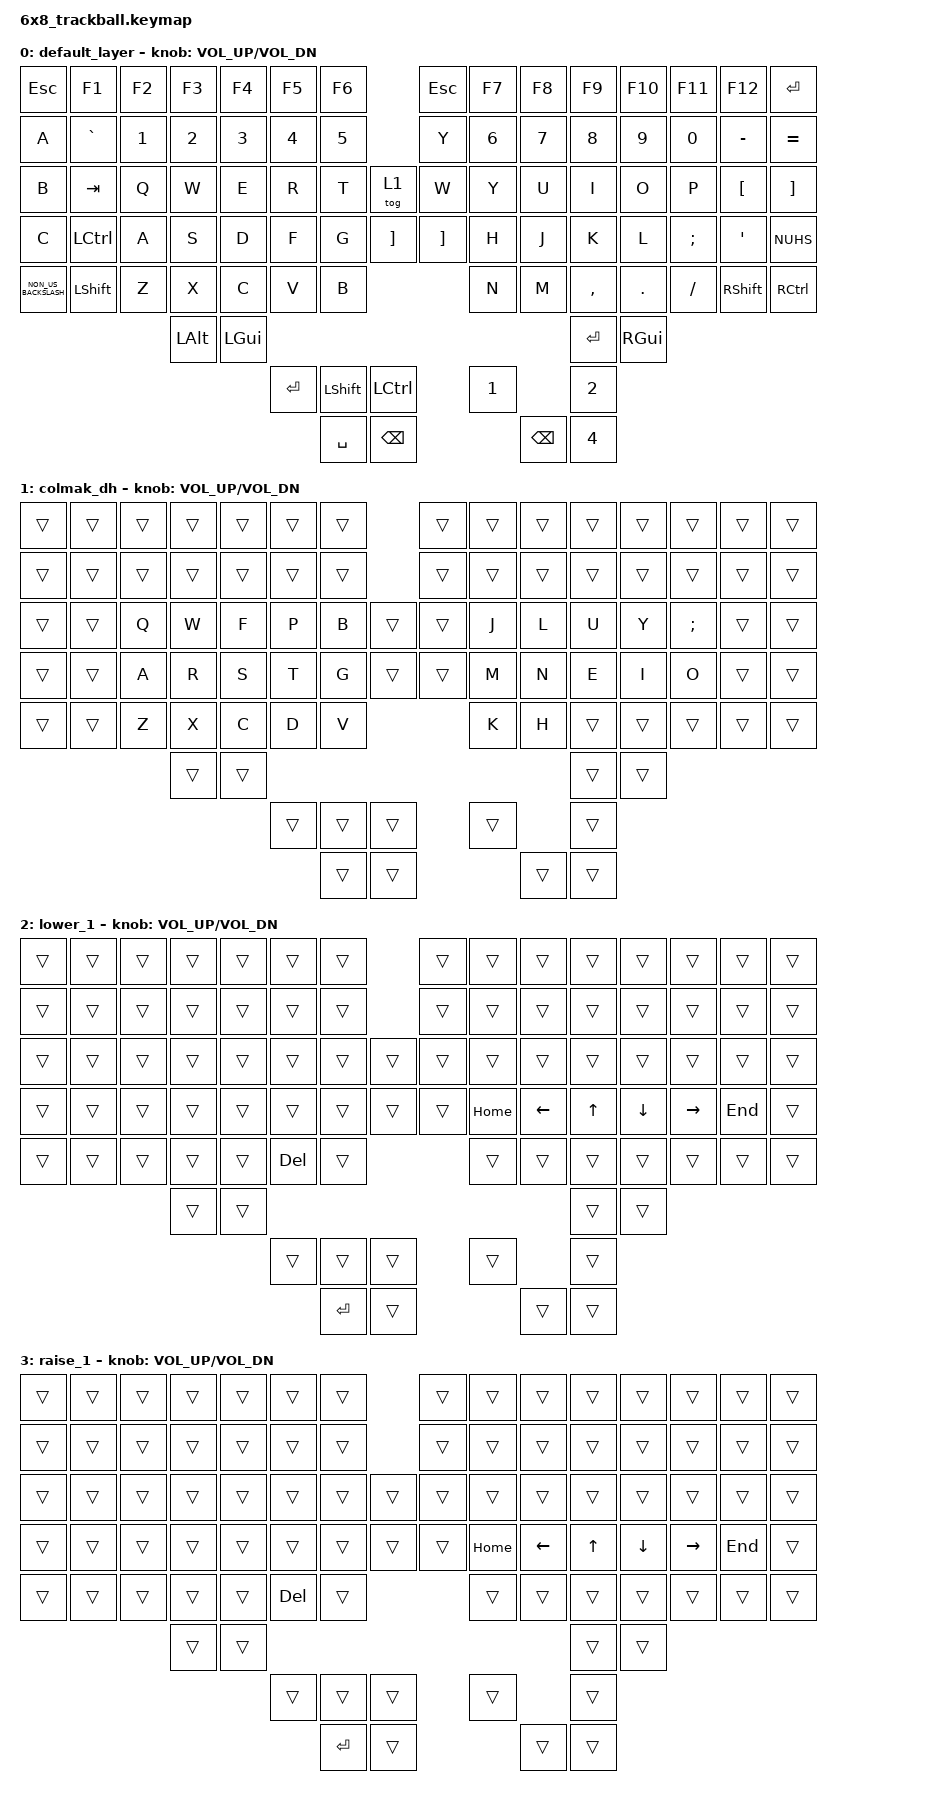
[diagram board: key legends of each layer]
#include <dt-bindings/zmk/keys.h>
#include <dt-bindings/zmk/mouse.h>
#include <dt-bindings/zmk/input_transform.h>
#include <zephyr/dt-bindings/input/input-event-codes.h>
#include <dt-bindings/zmk/bt.h>
#include <dt-bindings/zmk/ext_power.h>
#include <dt-bindings/zmk/pointing.h>
#include <behaviors.dtsi>
//#include <boards/shields/6x8_trackball/6x8_trackball.dtsi>

//| SW7  | SW6  | SW5  | SW4  | SW3  | SW2  | SW1  |          | SW1  | SW2  | SW3  | SW4  | SW5  | SW6  | SW7  | SW8  |         
//| SW14 | SW13 | SW12 | SW11 | SW10 | SW9  | SW8  |          | SW9  | SW10 | SW11 | SW12 | SW13 | SW14 | SW15 | SW16 | 
//| SW22 | SW21 | SW20 | SW19 | SW18 | SW17 | SW16 | SW15 |   | SW17 | SW18 | SW19 | SW20 | SW21 | SW22 | SW23 | SW24 |         
//| SW30 | SW29 | SW28 | SW27 | SW26 | SW25 | SW24 | SW23 |   | SW25 | SW26 | SW27 | SW28 | SW29 | SW30 | SW31 | SW32 |         
//| SW37 | SW36 | SW35 | SW34 | SW33 | SW32 | SW31 |                 | SW33 | SW34 | SW35 | SW36 | SW37 | SW38 | SW39 |         
//                     | SW39 | SW38 |                                             | SW40 | SW41 |        
//                                    | SW42 | SW41 | SW40 |         | SW42 |      | SW43 |
//                                           | SW44 | SW43 |             | SW44 | SW45 |

#define DEFAULT 0
#define COLEMAK_DH 1
#define LOWER 2
#define RAISE 3

/ {
    behaviors {
        td0: colemak_dh_layer {
            compatible = "zmk,behavior-tap-dance";
            label = "colemak_dh_layer";
            #binding-cells = <0>;
            tapping-term-ms = <200>;
            bindings = <&kp LBKT>, <&tog 1>;
        };
        td1: esc_grave {
            compatible = "zmk,behavior-tap-dance";
            label = "grave_esc_tap";
            #binding-cells = <0>;
            tapping-term-ms = <200>;
            bindings = <&kp ESC>, <&kp GRAVE>;
        };
};

    keymap {
        compatible = "zmk,keymap";

        default_layer {
// ------------------------------------------------------------------------------------------------------------
// |  ESC  |  F1   |  F2 |  F3 |  F4  |  F5  |  F6  |            |  ESC  | F7   |  F8   |  F9   | F10   |  F11  |  F12  | RET  |
// |  mac1 |  grv  |  1  |  2  |  3   |  4   |  5   |            |       |  6   |  7    |  8    |  9    |   0   |   -   |   +  |
// |  mac2 |  TAB  |  Q  |  W  |  E   |  R   |  T   | LAY1  |    |   }   |  Y   |  U    |  I    |  O    |   P   |   [   |   ]  |
// |  mac3 |  CTRL |  A  |  S  |  D   |  F   |  G   |   [   |    |   ]   |  H   |  J    |  K    |  L    |   ;   |   @   |   #  |
// |   |   | SHIFT |  Z  |  X  |  C   |  V   |  B   |                    |  N   |  M    |  ,    |  .    |   /   | SHIFT | RCTRL|
//                       | ALT | GUI  |                                                 | LAY2  | LAY3  | 
//                                    |  RET  | LSHFT | LCTRL |           | LAY1 |       |  LAY1 |
//                                            | SPACE | BKSPC |               | BSPC  |  BKSP |
//                                       

            bindings = <
&kp ESC              &kp F1    &kp F2 &kp F3   &kp F4   &kp F5    &kp F6             &kp ESC    &kp F7  &kp F8   &kp F9    &kp F10   &kp F11  &kp F12   &kp RET
&kp A                &kp GRAVE &kp N1 &kp N2   &kp N3   &kp N4    &kp N5             &kp Y      &kp N6  &kp N7   &kp N8    &kp N9    &kp N0   &kp MINUS &kp EQUAL
&kp B                &kp TAB   &kp Q  &kp W    &kp E    &kp R     &kp T     &tog 1   &kp W      &kp Y   &kp U    &kp I     &kp O     &kp P    &kp LBKT  &kp RBKT
&kp C                &kp LCTRL &kp A  &kp S    &kp D    &kp F     &kp G     &kp RBKT &kp RBKT   &kp H   &kp J    &kp K     &kp L     &kp SEMI &kp SQT   &kp NUHS
&kp NON_US_BACKSLASH &kp LSHFT &kp Z  &kp X    &kp C    &kp V     &kp B                         &kp N   &kp M    &kp COMMA &kp DOT   &kp FSLH &kp RSHFT &kp RCTRL
                                      &kp LALT &kp LGUI                                                          &kp RET   &kp RGUI
                                                        &kp RET   &kp LSHFT &kp LCTRL          &kp N1           &kp N2
                                                                  &kp SPACE &kp BSPC                &kp BSPC  &kp N4
            >;

            sensor-bindings = <&inc_dec_kp C_VOL_UP C_VOL_DN>;
        };

        colmak_dh {
// ------------------------------------------------------------------------------------------------------------
// |  ESC  |  F1   |  F2 |  F3 |  F4  |  F5  |  F6  |            |  ESC  | F7   |  F8   |  F9   | F10   |  F11  |  F12  | RET  |
// |  mac1 |  grv  |  1  |  2  |  3   |  4   |  5   |            |       |  6   |  7    |  8    |  9    |   0   |   -   |   +  |
// |  mac2 |  TAB  |  Q  |  W  |  F   |  P   |  B   |   {   |    |   }   |  L   |  L    |  U    |  Y    |   :   |   [   |   ]  |
// |  mac3 |  CTRL |  A  |  R  |  S   |  T   |  G   |   [   |    |   ]   |  M   |  N    |  E    |  I    |   O   |   @   |   #  |
// |   |   | SHIFT |  Z  |  X  |  C   |  D   |  V   |                    |  K   |  H    |  ,    |  .    |   /   | SHIFT | RCTRL|
//                       | ALT | GUI  |                                                 | LAY2  | LAY3  | 
//                                    | SPACE | LOWER | LAY1 |           | LAY1 |       |  LAY1 |
//                                            | SPACE | RAISE|               | BSPC  |  BKSP |
//                                       

            bindings = <
&trans               &trans    &trans &trans   &trans   &trans    &trans             &trans     &trans  &trans   &trans    &trans    &trans   &trans    &trans
&trans               &trans    &trans &trans   &trans   &trans    &trans             &trans     &trans  &trans   &trans    &trans    &trans   &trans    &trans
&trans               &trans    &kp Q  &kp W    &kp F    &kp P     &kp B     &trans   &trans     &kp J   &kp L    &kp U     &kp Y     &kp SEMI &trans    &trans
&trans               &trans    &kp A  &kp R    &kp S    &kp T     &kp G     &trans   &trans     &kp M   &kp N    &kp E     &kp I     &kp O    &trans    &trans
&trans               &trans    &kp Z  &kp X    &kp C    &kp D     &kp V                         &kp K   &kp H    &trans    &trans    &trans   &trans    &trans
                                      &trans   &trans                                                            &trans    &trans
                                                        &trans    &trans    &trans              &trans           &trans
                                                                  &trans    &trans                  &trans   &trans
            >;

            sensor-bindings = <&inc_dec_kp C_VOL_UP C_VOL_DN>;
        };

        lower_1 {
// ------------------------------------------------------------------------------------------------------------
// |  ESC  |  F1   |  F2 |  F3 |  F4  |  F5  |  F6  |            |  ESC  | F7   |  F8   |  F9   | F10   |  F11  |  F12  | RET  |
// |  mac1 |  grv  |  1  |  2  |  3   |  4   |  5   |            |       |  6   |  7    |  8    |  9    |   0   |   -   |   +  |
// |  mac2 |  TAB  |  Q  |  W  |  F   |  P   |  B   |   {   |    |   }   |  L   |  L    |  U    |  Y    |   :   |   [   |   ]  |
// |  mac3 |  CTRL |  A  |  R  |  S   |  T   |  G   |   [   |    |   ]   | HOME |  <    |  ^    |  v    |   >   |  END  |   #  |
// |   |   | SHIFT |  Z  |  X  |  C   |  D   |  V   |                    |  K   |  H    |  ,    |  .    |   /   | SHIFT | RCTRL|
//                       | ALT | GUI  |                                                 | LAY2  | LAY3  | 
//                                    | SPACE | LOWER | LAY1 |           | LAY1 |       |  LAY1 |
//                                            | RET   | RAISE|               | BSPC  |  BKSP |
//                                       

            bindings = <
&trans               &trans    &trans &trans   &trans   &trans    &trans             &trans     &trans    &trans   &trans    &trans    &trans    &trans    &trans
&trans               &trans    &trans &trans   &trans   &trans    &trans             &trans     &trans    &trans   &trans    &trans    &trans    &trans    &trans
&trans               &trans    &trans &trans   &trans   &trans    &trans    &trans   &trans     &trans    &trans   &trans    &trans    &trans    &trans    &trans
&trans               &trans    &trans &trans   &trans   &trans    &trans    &trans   &trans     &kp HOME  &kp LEFT &kp UP    &kp DOWN  &kp RIGHT &kp END   &trans
&trans               &trans    &trans &trans   &trans   &kp DEL   &trans                        &trans    &trans   &trans    &trans    &trans    &trans    &trans
                                      &trans   &trans                                                              &trans    &trans
                                                        &trans    &trans    &trans              &trans             &trans
                                                                  &kp RET   &trans                  &trans   &trans
            >;

            sensor-bindings = <&inc_dec_kp C_VOL_UP C_VOL_DN>;
        };

        raise_1 {
// ------------------------------------------------------------------------------------------------------------
// |  ESC  |  F1   |  F2 |  F3 |  F4  |  F5  |  F6  |            |  ESC  | F7   |  F8   |  F9   | F10   |  F11  |  F12  | RET  |
// |  mac1 |  grv  |  1  |  2  |  3   |  4   |  5   |            |       |  6   |  7    |  8    |  9    |   0   |   -   |   +  |
// |  mac2 |  TAB  |  Q  |  W  |  F   |  P   |  B   |   {   |    |   }   |  L   |  L    |  U    |  Y    |   :   |   [   |   ]  |
// |  mac3 |  CTRL |  A  |  R  |  S   |  T   |  G   |   [   |    |   ]   | HOME |  <    |  ^    |  v    |   >   |  END  |   #  |
// |   |   | SHIFT |  Z  |  X  |  C   |  D   |  V   |                    |  K   |  H    |  ,    |  .    |   /   | SHIFT | RCTRL|
//                       | ALT | GUI  |                                                 | LAY2  | LAY3  | 
//                                    | SPACE | LOWER | LAY1 |           | LAY1 |       |  LAY1 |
//                                            | RET   | RAISE|               | BSPC  |  BKSP |
//                                       

            bindings = <
&trans               &trans    &trans &trans   &trans   &trans    &trans             &trans     &trans    &trans   &trans    &trans    &trans    &trans    &trans
&trans               &trans    &trans &trans   &trans   &trans    &trans             &trans     &trans    &trans   &trans    &trans    &trans    &trans    &trans
&trans               &trans    &trans &trans   &trans   &trans    &trans    &trans   &trans     &trans    &trans   &trans    &trans    &trans    &trans    &trans
&trans               &trans    &trans &trans   &trans   &trans    &trans    &trans   &trans     &kp HOME  &kp LEFT &kp UP    &kp DOWN  &kp RIGHT &kp END   &trans
&trans               &trans    &trans &trans   &trans   &kp DEL   &trans                        &trans    &trans   &trans    &trans    &trans    &trans    &trans
                                      &trans   &trans                                                              &trans    &trans
                                                        &trans    &trans    &trans              &trans             &trans
                                                                  &kp RET   &trans                  &trans   &trans
            >;

            sensor-bindings = <&inc_dec_kp C_VOL_UP C_VOL_DN>;
        };
    };

};
